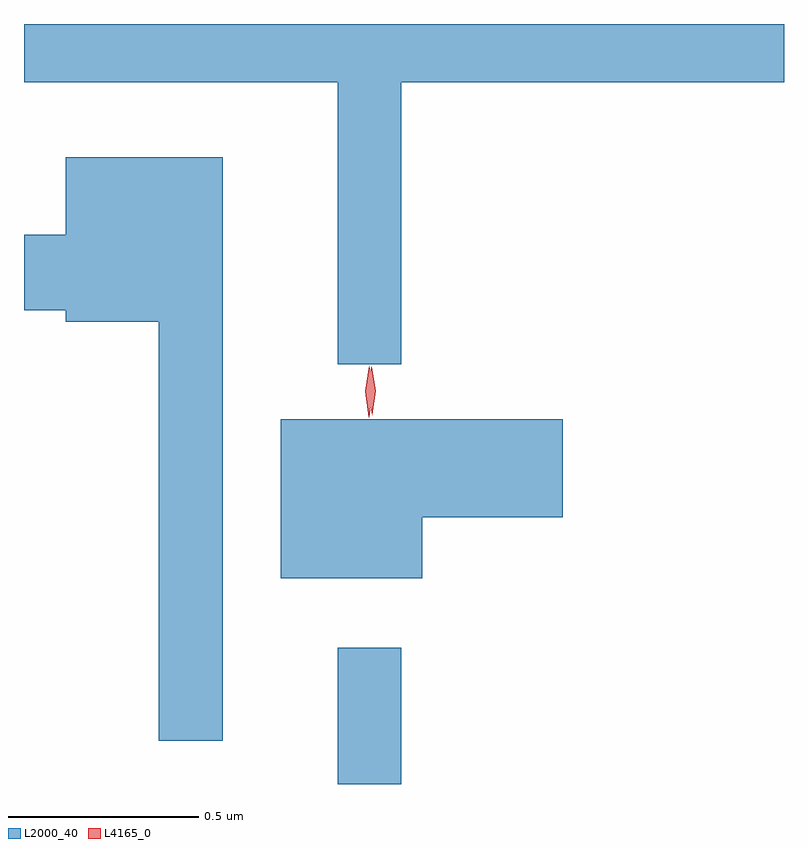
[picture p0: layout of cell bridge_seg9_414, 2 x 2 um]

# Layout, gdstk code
import gdstk
lib = gdstk.Library(unit=1e-6, precision=1e-09)
def R(c, l, rs):  # rectangles x0, y0, x1, y1
    for r in rs: c.add(gdstk.rectangle(r[:2], r[2:], *l))
def P(c, l, *ps):  # polygons
    for p in ps: c.add(gdstk.Polygon(p, *l))
L2000_40 = (2000, 40)
L4165_0 = (4165, 0)

bridge_seg9_414 = lib.new_cell('bridge_seg9_414')
R(bridge_seg9_414, L2000_40, [(938.991,1974.429,939.159,1974.788)])
P(bridge_seg9_414, L2000_40, [(939.159,1976.276),(940.166,1976.276),(940.166,1976.429),(938.166,1976.429),(938.166,1976.276),(938.991,1976.276),(938.991,1975.533),(939.159,1975.533)],
  [(938.689,1976.079),(938.276,1976.079),(938.276,1975.874),(938.166,1975.874),(938.166,1975.676),(938.276,1975.676),(938.276,1975.646),(938.521,1975.646),(938.521,1974.543),(938.689,1974.543)],
  [(939.214,1975.131),(939.584,1975.131),(939.584,1975.389),(938.841,1975.389),(938.841,1974.971),(939.214,1974.971)])
P(bridge_seg9_414, L4165_0, [(939.082,1975.4),(939.082,1975.401),(939.072,1975.463),(939.08,1975.526),(939.081,1975.527),(939.081,1975.526),(939.092,1975.464),(939.083,1975.401)],
  [(939.073,1975.394),(939.073,1975.394),(939.064,1975.462),(939.074,1975.53),(939.075,1975.53),(939.075,1975.53),(939.084,1975.462),(939.074,1975.394)])

lib.write_gds('bridge_seg9_414.gds')
